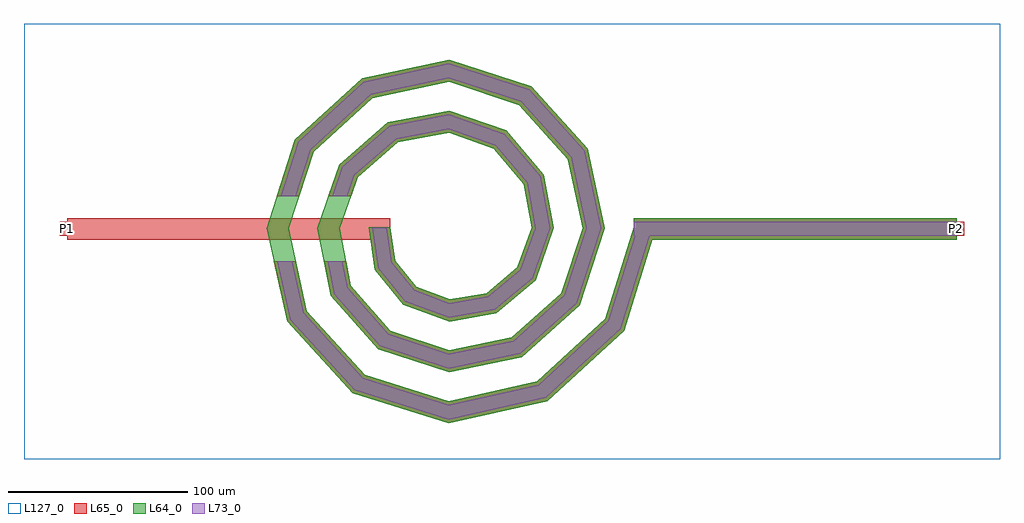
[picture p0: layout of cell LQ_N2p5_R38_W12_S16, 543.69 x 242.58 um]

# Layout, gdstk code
import gdstk
lib = gdstk.Library(unit=1e-6, precision=1e-09)
def R(c, l, rs):  # rectangles x0, y0, x1, y1
    for r in rs: c.add(gdstk.rectangle(r[:2], r[2:], *l))
def P(c, l, *ps):  # polygons
    for p in ps: c.add(gdstk.Polygon(p, *l))
L64_0 = (64, 0)
L65_0 = (65, 0)
L73_0 = (73, 0)
L127_0 = (127, 0)

lq_n2p5_r38_w12_s16 = lib.new_cell('LQ_N2p5_R38_W12_S16')
R(lq_n2p5_r38_w12_s16, L64_0, [(103.247,-6,283.247,6)])
P(lq_n2p5_r38_w12_s16, L64_0, [(-29.646,-17.887),(-17.941,-32.337),(0.599,-39.333),(21.339,-35.82),(38.419,-21.554),(46.407,0.519),(41.984,24.813),(25.15,44.513),(0.458,53.484),(-28.303,48.141),(-50.617,28.734),(-60.562,0.409),(-54.294,-31.803),(-32.309,-56.726),(0.37,-67.64),(35.311,-60.443),(62.839,-35.879),(74.72,0.338),(66.589,38.824),(39.443,68.956),(0.311,81.799),(-42.342,72.733),(-75.075,43.004),(-88.879,0.288),(-78.875,-45.862),(-46.562,-81.196),(0.268,-95.959),(49.386,-85.016),(87.319,-50.118),(103.519,1.788),(114.974,-1.788),(97.814,-56.768),(55.14,-96.028),(0.268,-108.373),(-53.243,-91.672),(-89.905,-51.583),(-101.291,0.288),(-85.529,49.721),(-48.023,83.783),(0.311,94.209),(46.201,79.384),(77.663,44.46),(87.127,0.338),(73.236,-42.685),(40.892,-71.545),(0.37,-80.045),(-39.173,-67.085),(-65.429,-37.319),(-72.962,0.409),(-60.93,35.668),(-33.739,59.317),(0.458,65.878),(32.171,54.769),(53.21,30.147),(58.793,0.519),(48.599,-28.686),(26.541,-47.11),(0.599,-51.706),(-25.219,-42.417),(-41.02,-22.912),(-44.37,0.903),(-32.507,0.903)])
R(lq_n2p5_r38_w12_s16, L65_0, [(-212.439,-6,-32.439,6), (103.247,-6,283.247,6), (-216.439,-4,-208.439,4), (279.247,-4,287.247,4)])
P(lq_n2p5_r38_w12_s16, L65_0, [(-78.875,-45.863),(-46.562,-81.196),(0.268,-95.959),(49.386,-85.016),(87.319,-50.118),(103.519,1.788),(114.974,-1.788),(97.814,-56.768),(55.14,-96.028),(0.268,-108.373),(-53.243,-91.672),(-89.905,-51.583),(-97.277,-18),(-84.991,-18)],
  [(-54.294,-31.803),(-32.309,-56.726),(0.37,-67.64),(35.311,-60.443),(62.839,-35.879),(74.72,0.338),(66.589,38.824),(39.443,68.956),(0.311,81.799),(-42.342,72.733),(-75.075,43.004),(-83.048,18),(-95.643,18),(-85.529,49.721),(-48.023,83.783),(0.311,94.209),(46.201,79.384),(77.663,44.46),(87.127,0.338),(73.236,-42.685),(40.892,-71.545),(0.37,-80.045),(-39.173,-67.085),(-65.429,-37.319),(-69.286,-18),(-57.05,-18)],
  [(-17.941,-32.337),(0.599,-39.333),(21.339,-35.82),(38.419,-21.554),(46.407,0.519),(41.984,24.813),(25.15,44.513),(0.458,53.484),(-28.303,48.141),(-50.617,28.734),(-54.28,18),(-66.959,18),(-60.93,35.668),(-33.739,59.317),(0.458,65.878),(32.171,54.769),(53.21,30.147),(58.793,0.519),(48.599,-28.686),(26.541,-47.11),(0.599,-51.706),(-25.219,-42.417),(-41.02,-22.912),(-44.37,0.903),(-32.507,0.903),(-29.646,-17.887)])
R(lq_n2p5_r38_w12_s16, L73_0, [(103.247,-4,283.247,4)])
P(lq_n2p5_r38_w12_s16, L73_0, [(-80.713,-46.816),(-47.676,-82.942),(0.178,-98.028),(50.345,-86.851),(89.068,-51.226),(105.428,1.192),(113.065,-1.192),(96.065,-55.66),(54.181,-94.193),(0.178,-106.304),(-52.13,-89.926),(-88.067,-50.629),(-95.229,-18),(-87.039,-18)],
  [(-56.15,-32.722),(-33.453,-58.452),(0.247,-69.708),(36.241,-62.293),(64.572,-37.013),(76.788,0.225),(68.434,39.763),(40.57,70.694),(0.207,83.868),(-43.288,74.574),(-76.817,44.124),(-85.147,18),(-93.544,18),(-83.787,48.601),(-47.076,81.941),(0.207,92.141),(45.074,77.646),(75.817,43.52),(85.059,0.225),(71.503,-41.55),(39.962,-69.694),(0.247,-77.977),(-38.029,-65.359),(-63.573,-36.4),(-67.247,-18),(-59.089,-18)],
  [(-19.154,-34.017),(0.399,-41.395),(22.206,-37.702),(40.116,-22.743),(48.472,0.346),(43.855,25.702),(26.32,46.223),(0.305,55.55),(-29.209,50.004),(-52.336,29.89),(-56.393,18),(-64.846,18),(-59.211,34.512),(-32.833,57.455),(0.305,63.813),(31.001,53.06),(51.339,29.258),(56.729,0.346),(46.903,-27.497),(25.674,-45.228),(0.399,-49.644),(-24.006,-40.737),(-39.124,-22.074),(-42.393,0.602),(-34.484,0.602),(-31.542,-18.725)])
R(lq_n2p5_r38_w12_s16, L127_0, [(-236.439,-128.373,307.247,114.209)])
lq_n2p5_r38_w12_s16.add(gdstk.Label('P2', (283.247,0), layer=65, texttype=0))
lq_n2p5_r38_w12_s16.add(gdstk.Label('P1', (-212.439,0), layer=65, texttype=0))
lq_n2p5_r38_w12_s16.add(gdstk.Label('P2', (287.247,0), layer=145, texttype=0))
lq_n2p5_r38_w12_s16.add(gdstk.Label('P1', (-216.439,0), layer=145, texttype=0))

lib.write_gds('LQ_N2p5_R38_W12_S16.gds')
